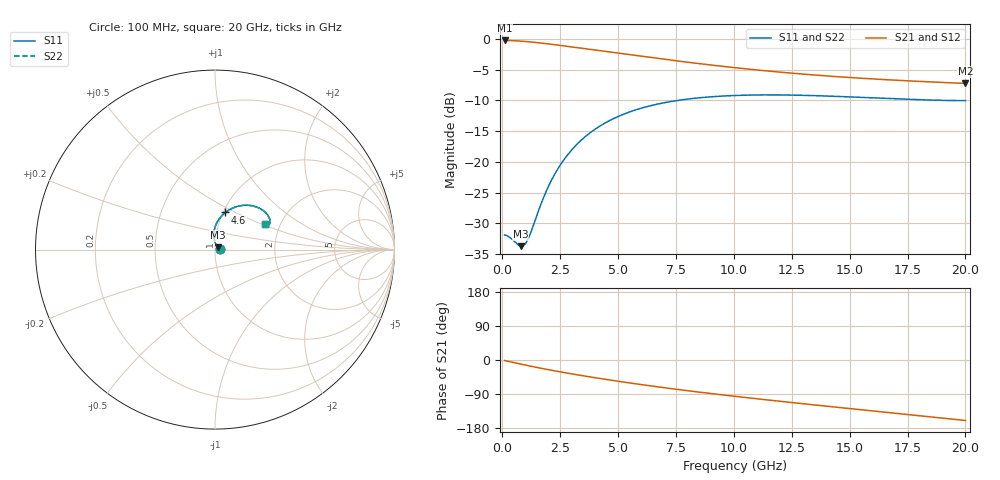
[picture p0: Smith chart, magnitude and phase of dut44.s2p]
! Created with skrf 1.9.0 (http://scikit-rf.org).
# GHz S RI R 50.0
!freq ReS11 ImS11 ReS21 ImS21 ReS12 ImS12 ReS22 ImS22
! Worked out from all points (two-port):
!   200 points, 100 MHz to 20 GHz, reference 50 ohm
!   highest |S21| = -0.23 dB at 100 MHz (marker M1); lowest = -7.2 dB at 20 GHz (marker M2)
!   |S21| within 3 dB of the highest: start of sweep to 6.859 GHz
!   lowest |S11| = -33.7 dB at 800 MHz (marker M3), VSWR 1.04, Z = 51.7 + j1.27 ohm
!   |S11| at or under -10 dB: start of sweep to 7.573 GHz; 19.19 GHz to end of sweep
!   |S22| runs from -33.7 to -9.1 dB; largest |S21 - S12| = 2.3e-15
!   S11 on the Smith chart (normalised r, x): 100 MHz: 1.05, +0.00; 4.6 GHz: 1.03, +0.45; 20 GHz: 1.67, +0.53
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0.1  0.0254 0.00121  0.974 -0.0235  0.974 -0.0235  0.0254 0.00121
0.3  0.0241 0.00346  0.9701 -0.0697  0.9701 -0.0697  0.0241 0.00346
0.8  0.0165 0.0123  0.9449 -0.1807  0.9449 -0.1807  0.0165 0.0123
0.9  0.0144 0.0148  0.9375 -0.2017  0.9375 -0.2017  0.0144 0.0148
1  0.0123 0.0177  0.9294 -0.2221  0.9294 -0.2221  0.0123 0.0177
1.1  0.01 0.0209  0.9207 -0.242  0.9207 -0.242  0.01 0.0209
1.8  -0.00337 0.052  0.8466 -0.3654  0.8466 -0.3654  -0.00337 0.052
2  -0.00556 0.0632  0.8224 -0.3955  0.8224 -0.3955  -0.00556 0.0632
2.3  -0.00683 0.0812  0.7845 -0.4366  0.7845 -0.4366  -0.00683 0.0812
2.6  -0.00552 0.1  0.7455 -0.4731  0.7455 -0.4731  -0.00552 0.1
2.9  -0.00159 0.1189  0.7056 -0.5054  0.7056 -0.5054  -0.00159 0.1189
3.5  0.0134 0.155  0.6251 -0.5587  0.6251 -0.5587  0.0134 0.155
4  0.0317 0.1813  0.5582 -0.5928  0.5582 -0.5928  0.0317 0.1813
4.6  0.0584 0.2071  0.4795 -0.6229  0.4795 -0.6229  0.0584 0.2071
5.6  0.1082 0.2352  0.3547 -0.6511  0.3547 -0.6511  0.1082 0.2352
6.8  0.1665 0.2471  0.2194 -0.6564  0.2194 -0.6564  0.1665 0.2471
8.4  0.2298 0.2379  0.0666 -0.6307  0.0666 -0.6307  0.2298 0.2379
10.1  0.2744 0.2129  -0.0628 -0.5796  -0.0628 -0.5796  0.2744 0.2129
11.7  0.2974 0.1863  -0.1591 -0.5202  -0.1591 -0.5202  0.2974 0.1863
13.4  0.3064 0.1617  -0.2401 -0.451  -0.2401 -0.451  0.3064 0.1617
16.7  0.2976 0.1364  -0.3502 -0.3063  -0.3502 -0.3063  0.2976 0.1364
20  0.2802 0.144  -0.408 -0.1515  -0.408 -0.1515  0.2802 0.144
